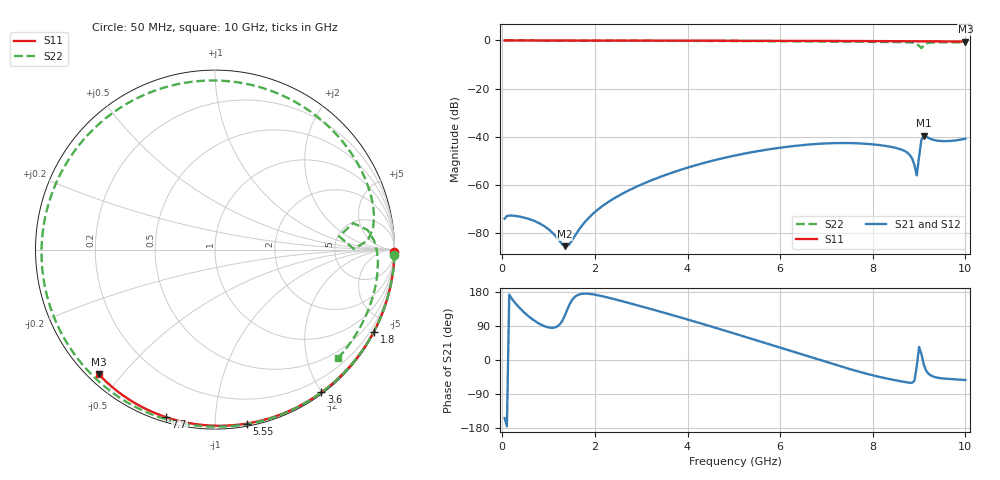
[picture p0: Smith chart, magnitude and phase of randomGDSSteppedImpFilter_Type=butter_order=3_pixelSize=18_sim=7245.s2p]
! freq	dB(S11)	phase(S11)	dB(S12)	phase(S12)
!  dB(S21)	phase(S21)	dB(S22)	phase(S22)
!S-par simulation data
#  GHz  S  DB  R 50
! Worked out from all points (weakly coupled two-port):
!   200 points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, 50 MHz to 10 GHz, reference 50 ohm
!   highest |S21| = -39.60 dB at 9.1 GHz (marker M1); lowest = -85.5 dB at 1.35 GHz (marker M2)
!   lowest |S11| = -0.4 dB at 10 GHz (marker M3), VSWR 38.94, Z = 1.53 - j21.7 ohm
!   |S11| at or under -10 dB: nowhere
!   |S22| runs from -3.2 to 0.0 dB; largest |S21 - S12| = 0
!   S11 on the Smith chart (normalised r, x): 50 MHz: open; 1.8 GHz: 0.04, -4.12; 3.6 GHz: 0.02, -1.99; 5.55 GHz: 0.02, -1.20; 7.7 GHz: 0.02, -0.75; 10 GHz: 0.03, -0.43
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0.05  -0.00 -0.8  -74.08 -153.1  -74.08 -153.1  -0.00 -1.6
0.45  -0.01 -6.9  -73.54 128.1  -73.54 128.1  -0.01 -14.7
1.1  -0.02 -16.8  -80.28 85.1  -80.28 85.1  -0.04 -35.7
1.35  -0.03 -20.6  -85.51 117.2  -85.51 117.2  -0.05 -43.6
1.6  -0.03 -24.3  -80.25 169.5  -80.25 169.5  -0.06 -51.6
1.75  -0.03 -26.5  -76.25 175.0  -76.25 175.0  -0.07 -56.3
1.8  -0.03 -27.3  -75.11 175.1  -75.11 175.1  -0.07 -57.8
2.4  -0.05 -36.1  -65.80 161.2  -65.80 161.2  -0.10 -76.6
3.4  -0.07 -50.5  -56.79 128.0  -56.79 128.0  -0.14 -107.5
3.6  -0.07 -53.3  -55.40 121.1  -55.40 121.1  -0.15 -113.7
5.05  -0.11 -73.1  -47.72 68.4  -47.72 68.4  -0.25 -160.9
5.55  -0.13 -79.6  -45.90 49.7  -45.90 49.7  -0.29 -179.0
6.7  -0.18 -94.1  -43.14 6.1  -43.14 6.1  -0.42 133.0
7.25  -0.21 -100.9  -42.64 -14.7  -42.64 -14.7  -0.48 105.7
7.7  -0.24 -106.3  -42.78 -30.8  -42.78 -30.8  -0.53 81.3
8.35  -0.29 -114.0  -44.08 -50.1  -44.08 -50.1  -0.61 43.6
8.8  -0.33 -119.2  -47.60 -60.1  -47.60 -60.1  -0.78 15.4
8.95  -0.34 -120.9  -56.09 -16.4  -56.09 -16.4  -1.38 3.4
9.05  -0.35 -122.1  -41.34 16.0  -41.34 16.0  -3.15 6.1
9.1  -0.35 -122.7  -39.60 -11.6  -39.60 -11.6  -2.12 10.8
9.35  -0.38 -125.5  -41.51 -45.4  -41.51 -45.4  -0.78 -7.3
10  -0.45 -133.0  -40.86 -52.9  -40.86 -52.9  -0.78 -41.3
